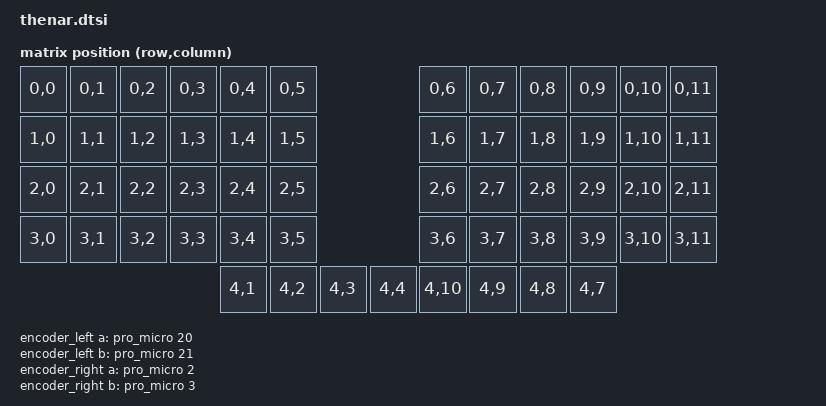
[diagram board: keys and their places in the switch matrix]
#include <dt-bindings/zmk/matrix_transform.h>
#include "thenar-layouts.dtsi"

/ {
    chosen {
        zmk,physical-layout = <&physical_layout0>;
        zmk,kscan = &kscan0;
    };

    // 5 rows x 12 cols. col-offset = 6 on the right-half overlay so left
    // half scans land in cols 0..5 and right half in cols 6..11.
    //
    // The mod row holds 8 keys total (4 per half): middle.mod, index.mod,
    // thumb.layer, thumb.space. Their matrix coords come from the ergogen
    // config:
    //
    //   middle.mod  : column_net=row1, row_net=col4 -> RC(4,1)
    //   index.mod   : column_net=row2, row_net=col4 -> RC(4,2)
    //   thumb.layer : column_net=row3, row_net=col4 -> RC(4,3)
    //   thumb.space : column_net=row4, row_net=col4 -> RC(4,4)
    //
    // Right half adds col-offset 6, so right.middle.mod is RC(4,7) etc.
    default_transform: keymap_transform_0 {
        compatible = "zmk,matrix-transform";
        rows = <5>;
        columns = <12>;

        map = <
RC(0,0) RC(0,1) RC(0,2) RC(0,3) RC(0,4) RC(0,5)                                 RC(0,6) RC(0,7) RC(0,8) RC(0,9) RC(0,10) RC(0,11)
RC(1,0) RC(1,1) RC(1,2) RC(1,3) RC(1,4) RC(1,5)                                 RC(1,6) RC(1,7) RC(1,8) RC(1,9) RC(1,10) RC(1,11)
RC(2,0) RC(2,1) RC(2,2) RC(2,3) RC(2,4) RC(2,5)                                 RC(2,6) RC(2,7) RC(2,8) RC(2,9) RC(2,10) RC(2,11)
RC(3,0) RC(3,1) RC(3,2) RC(3,3) RC(3,4) RC(3,5)                                 RC(3,6) RC(3,7) RC(3,8) RC(3,9) RC(3,10) RC(3,11)
                                RC(4,1) RC(4,2) RC(4,3) RC(4,4) RC(4,10) RC(4,9) RC(4,8) RC(4,7)
        >;
    };

    kscan0: kscan {
        compatible = "zmk,kscan-gpio-matrix";
        wakeup-source;
    };

    // EVQWGD001 scrollwheel - mounts on whichever half is in use, with the
    // a/b pins wired identically to the corax. ZMK treats it as an encoder.
    encoder_left: encoder_left {
        compatible = "alps,ec11";
        a-gpios = <&pro_micro 20 (GPIO_ACTIVE_HIGH | GPIO_PULL_UP)>;
        b-gpios = <&pro_micro 21 (GPIO_ACTIVE_HIGH | GPIO_PULL_UP)>;
        steps = <30>;
        status = "disabled";
    };

    encoder_right: encoder_right {
        compatible = "alps,ec11";
        a-gpios = <&pro_micro 2 (GPIO_ACTIVE_HIGH | GPIO_PULL_UP)>;
        b-gpios = <&pro_micro 3 (GPIO_ACTIVE_HIGH | GPIO_PULL_UP)>;
        steps = <30>;
        status = "disabled";
    };

    sensors: sensors {
        compatible = "zmk,keymap-sensors";
        sensors = <&encoder_left &encoder_right>;
        triggers-per-rotation = <15>;
    };
};
